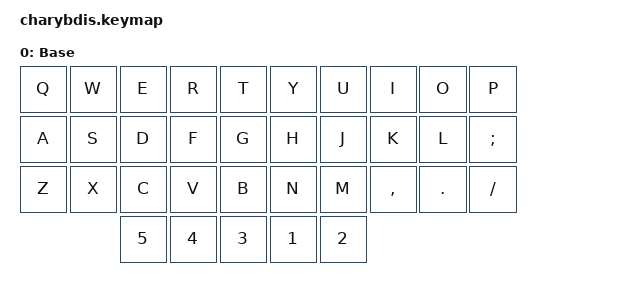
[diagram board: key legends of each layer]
#include <dt-bindings/zmk/mouse.h>
#include <behaviors/mouse_keys.dtsi>
#include <behaviors.dtsi>
#include <dt-bindings/zmk/keys.h>

#define BASE 0
#define NUFU 1
#define SYM 2
#define NAV 3
#define MED 4
#define POI 5
#define SCR 6
#define SNI 7

&sl { release-after-ms = <250>; };

&mt {
    tapping-term-ms = <200>;
    require-prior-idle-ms = <150>;
};

/ {
    chosen { zmk,matrix_transform = &five_column_transform; };

    #include "combos.dtsi"

    behaviors {
        hml: homewrow_mods_left {
            compatible = "zmk,behavior-hold-tap";
            label = "HOMEROW_MODS_LEFT_HAND";
            bindings = <&kp>, <&kp>;

            #binding-cells = <2>;
            tapping-term-ms = <280>;
            hold-trigger-key-positions = <5 6 7 8 9 15 16 17 18 19 25 26 27 28 29 33 34>;
            flavor = "balanced";
            quick-tap-ms = <175>;
            require-prior-idle-ms = <125>;
            hold-trigger-on-release;
        };

        hmr: homewrow_mods_right {
            compatible = "zmk,behavior-hold-tap";
            label = "HOMEROW_MODS_RIGHT_HAND";
            bindings = <&kp>, <&kp>;

            #binding-cells = <2>;
            tapping-term-ms = <280>;
            hold-trigger-key-positions = <0 1 2 3 4 10 11 12 13 14 20 21 22 23 24 30 31 32>;
            flavor = "balanced";
            quick-tap-ms = <175>;
            require-prior-idle-ms = <125>;
            hold-trigger-on-release;
        };
    };

    keymap {
        compatible = "zmk,keymap";

        Base {
            label = "Base";
            bindings = <
  &kp Q  &kp W  &kp E   &kp R         &kp T           &kp Y         &kp U         &kp I      &kp O    &kp P
  &kp A  &kp S  &kp D   &kp F         &kp G           &kp H         &kp J         &kp K      &kp L    &kp SEMICOLON
  &kp Z  &kp X  &kp C   &kp V         &kp B           &kp N         &kp M         &kp COMMA  &kp DOT  &kp SLASH
                &kp N5  &kp NUMBER_4  &kp NUMBER_3    &kp NUMBER_1  &kp NUMBER_2
            >;
        };
    };
};
